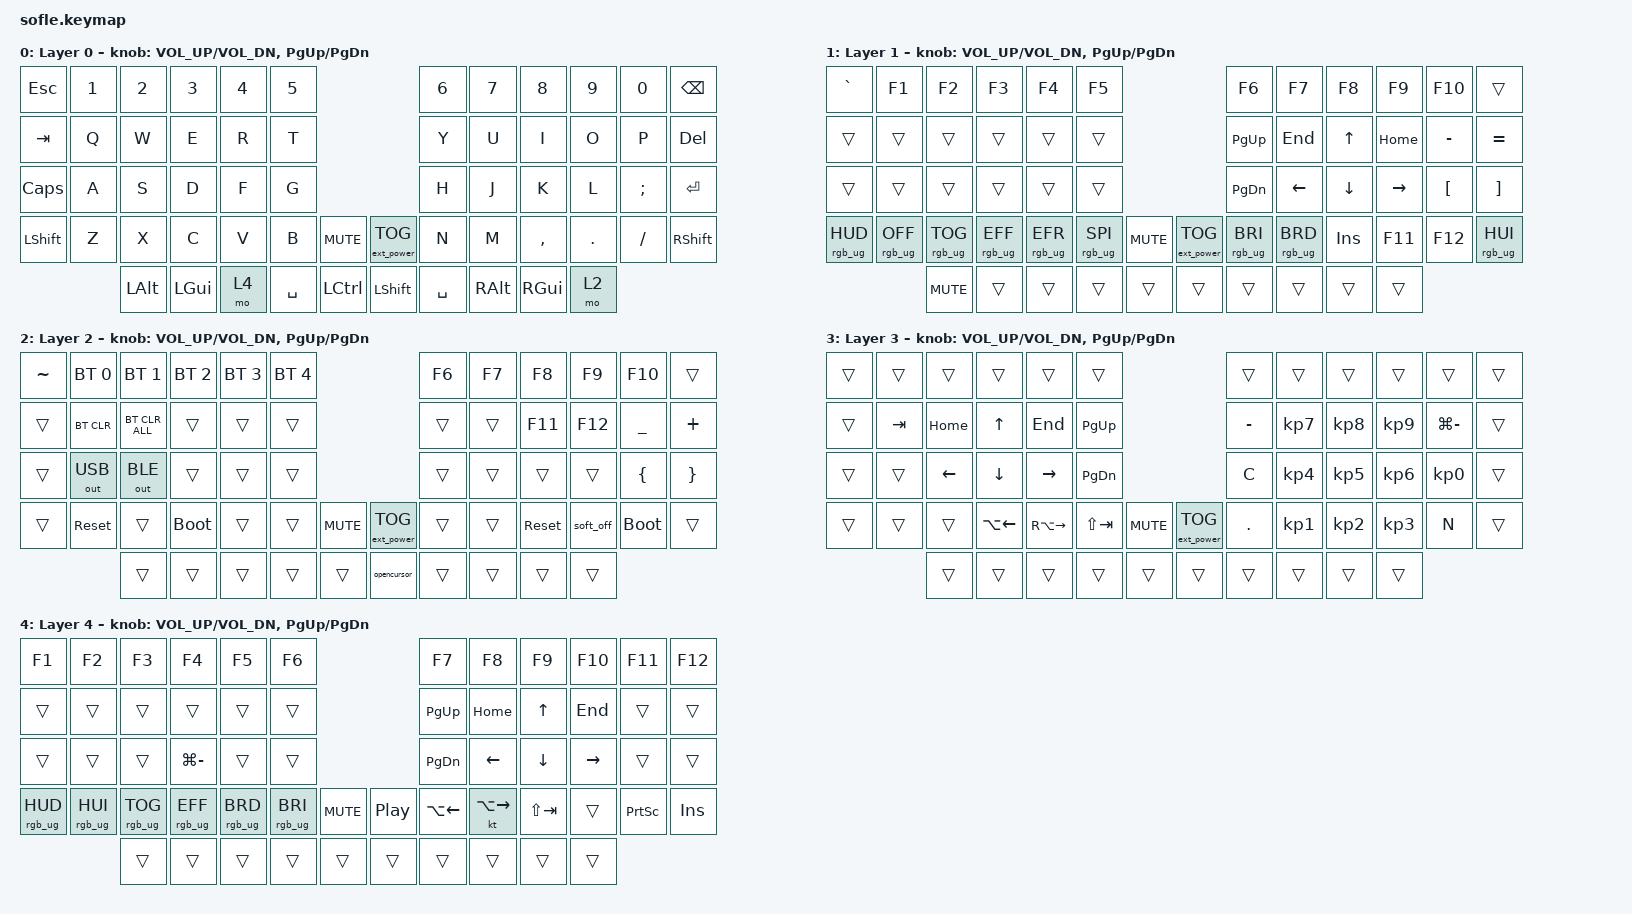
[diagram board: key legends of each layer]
/*
 * Copyright (c) 2020 The ZMK Contributors
 *
 * SPDX-License-Identifier: MIT
 */
/*
 * Temporarily here because nice nano v2 spi is not defined on ZMK Yet
 * Source: https://github.com/zmkfirmware/zmk/blob/main/app/boards/shields/reviung41/boards/nice_nano.overlay
 * GitHub Issue: https://github.com/zmkfirmware/zmk/issues/885
 */

#include <dt-bindings/led/led.h>
#include <behaviors.dtsi>
#include <dt-bindings/zmk/bt.h>
#include <dt-bindings/zmk/ext_power.h>
#include <dt-bindings/zmk/keys.h>
#include <dt-bindings/zmk/outputs.h>
#include <dt-bindings/zmk/rgb.h>

&pinctrl {
    spi3_default: spi3_default {
        group1 { psels = <NRF_PSEL(SPIM_MOSI, 0, 8)>; };
    };

    spi3_sleep: spi3_sleep {
        group1 {
            psels = <NRF_PSEL(SPIM_MOSI, 0, 8)>;
            low-power-enable;
        };
    };
};

&spi3 {
    compatible = "nordic,nrf-spim";
    status = "okay";
    pinctrl-0 = <&spi3_default>;
    pinctrl-1 = <&spi3_sleep>;
    pinctrl-names = "default", "sleep";

    led_strip: ws2812@0 {
        compatible = "worldsemi,ws2812-spi";
        label = "WS2812";

        /* SPI */

        reg = <0>; /* ignored, but necessary for SPI bindings */
        spi-max-frequency = <4000000>;

        /* WS2812 */

        chain-length = <30>;
        spi-one-frame = <0x70>;
        spi-zero-frame = <0x40>;
        color-mapping = <LED_COLOR_ID_GREEN LED_COLOR_ID_RED LED_COLOR_ID_BLUE>;
    };
};

/ {
    chosen { zmk,underglow = &led_strip; };
};

/* END temporary RGB support section */
/* Macros and combos imported from eyelash keymap (no pointing behaviors) */

/ {
    macros {
        L3_CYAN: L1_CYAN {
            compatible = "zmk,behavior-macro";
            #binding-cells = <0>;
            wait-ms = <0>;
            tap-ms = <0>;
            bindings =
                <&macro_press>,
                <&mo 3>,
                <&macro_tap>,
                <&rgb_ug RGB_COLOR_HSB(180,100,100)>,
                <&macro_pause_for_release>,
                <&macro_release>,
                <&mo 3>,
                <&macro_tap>,
                <&rgb_ug RGB_COLOR_HSB(0,0,0)>;
        };

        L2_RED: L2_RED {
            compatible = "zmk,behavior-macro";
            #binding-cells = <0>;
            wait-ms = <0>;
            tap-ms = <0>;
            bindings =
                <&macro_press>,
                <&mo 2>,
                <&macro_tap>,
                <&rgb_ug RGB_COLOR_HSB(0,100,100)>,
                <&macro_pause_for_release>,
                <&macro_release>,
                <&mo 2>,
                <&macro_tap>,
                <&rgb_ug RGB_COLOR_HSB(0,0,0)>;
        };

        opencursor: openapp {
            compatible = "zmk,behavior-macro";
            #binding-cells = <0>;
            bindings =
                <&macro_press>,
                <&kp LEFT_GUI &kp SPACE>,
                <&macro_wait_time 50>,
                <&macro_release>,
                <&kp LEFT_GUI &kp SPACE>,
                <&macro_wait_time 150>,
                <&macro_tap>,
                <&kp W &kp SEMICOLON &kp J &kp S &kp E &kp J>,
                <&macro_wait_time 100>,
                <&macro_tap>,
                <&kp ENTER>;

            label = "OPENAPP";
            tap-ms = <10>;
        };

        ALT_BLUE: ALT_BLUE {
            compatible = "zmk,behavior-macro";
            #binding-cells = <0>;
            wait-ms = <0>;
            tap-ms = <0>;
            bindings =
                <&macro_press>,
                <&kp RIGHT_ALT>,
                <&macro_tap>,
                <&rgb_ug RGB_COLOR_HSB(217,79,49)>,
                <&macro_pause_for_release>,
                <&macro_release>,
                <&kp RIGHT_ALT>,
                <&macro_tap>,
                <&rgb_ug RGB_COLOR_HSB(0,0,0)>;

            label = "ALT_BLUE";
        };
    };

    combos {
        compatible = "zmk,combos";

        layer_1 {
            bindings = <&mo 1>;
            key-positions = <52 57>;
        };
    };
};

/ {
    keymap {
        compatible = "zmk,keymap";

        layer_0 {
            bindings = <
&kp ESC    &kp N1  &kp N2    &kp N3    &kp N4  &kp N5                                            &kp N6     &kp N7         &kp N8         &kp N9   &kp N0    &kp BACKSPACE
&kp TAB    &kp Q   &kp W     &kp E     &kp R   &kp T                                             &kp Y      &kp U          &kp I          &kp O    &kp P     &kp DEL
&kp CAPS   &kp A   &kp S     &kp D     &kp F   &kp G                                             &kp H      &kp J          &kp K          &kp L    &kp SEMI  &kp RET
&kp LSHFT  &kp Z   &kp X     &kp C     &kp V   &kp B      &kp C_MUTE          &ext_power EP_TOG  &kp N      &kp M          &kp COMMA      &kp DOT  &kp FSLH  &kp RSHFT
                   &kp LALT  &kp LGUI  &mo 4   &kp SPACE  &kp LEFT_CONTROL    &kp LEFT_SHIFT     &kp SPACE  &kp RIGHT_ALT  &kp RIGHT_GUI  &mo 2
            >;

            sensor-bindings = <&inc_dec_kp C_VOL_UP C_VOL_DN &inc_dec_kp PG_UP PG_DN>;
            label = "Layer 0";
        };

        layer_1 {
            bindings = <
&kp GRAVE        &kp F1           &kp F2           &kp F3           &kp F4           &kp F5                                            &kp F6           &kp F7           &kp F8      &kp F9     &kp F10           &trans
&trans           &trans           &trans           &trans           &trans           &trans                                            &kp PG_UP        &kp END          &kp UP      &kp HOME   &kp MINUS         &kp EQUAL
&trans           &trans           &trans           &trans           &trans           &trans                                            &kp PG_DN        &kp LEFT         &kp DOWN    &kp RIGHT  &kp LEFT_BRACKET  &kp RIGHT_BRACKET
&rgb_ug RGB_HUD  &rgb_ug RGB_OFF  &rgb_ug RGB_TOG  &rgb_ug RGB_EFF  &rgb_ug RGB_EFR  &rgb_ug RGB_SPI  &kp C_MUTE    &ext_power EP_TOG  &rgb_ug RGB_BRI  &rgb_ug RGB_BRD  &kp INSERT  &kp F11    &kp F12           &rgb_ug RGB_HUI
                                  &kp C_MUTE       &trans           &trans           &trans           &trans        &trans             &trans           &trans           &trans      &trans
            >;

            sensor-bindings = <&inc_dec_kp C_VOL_UP C_VOL_DN &inc_dec_kp PG_UP PG_DN>;
            label = "Layer 1";
        };

        layer_2 {
            bindings = <
&kp TILDE  &bt BT_SEL 0  &bt BT_SEL 1    &bt BT_SEL 2  &bt BT_SEL 3  &bt BT_SEL 4                                   &kp F6  &kp F7  &kp F8      &kp F9     &kp F10      &trans
&trans     &bt BT_CLR    &bt BT_CLR_ALL  &trans        &trans        &trans                                         &trans  &trans  &kp F11     &kp F12    &kp UNDER    &kp PLUS
&trans     &out OUT_USB  &out OUT_BLE    &trans        &trans        &trans                                         &trans  &trans  &trans      &trans     &kp LBRC     &kp RBRC
&trans     &sys_reset    &trans          &bootloader   &trans        &trans        &kp C_MUTE    &ext_power EP_TOG  &trans  &trans  &sys_reset  &soft_off  &bootloader  &trans
                         &trans          &trans        &trans        &trans        &trans        &opencursor        &trans  &trans  &trans      &trans
            >;

            sensor-bindings = <&inc_dec_kp C_VOL_UP C_VOL_DN &inc_dec_kp PG_UP PG_DN>;
            label = "Layer 2";
        };

        layer_3 {
            bindings = <
&trans  &trans   &trans    &trans        &trans         &trans                                          &trans     &trans           &trans           &trans           &trans           &trans
&trans  &kp TAB  &kp HOME  &kp UP        &kp END        &kp PAGE_UP                                     &kp MINUS  &kp KP_NUMBER_7  &kp KP_NUMBER_8  &kp KP_NUMBER_9  &kp LG(MINUS)    &trans
&trans  &trans   &kp LEFT  &kp DOWN      &kp RIGHT      &kp PAGE_DOWN                                   &kp C      &kp KP_NUMBER_4  &kp KP_NUMBER_5  &kp KP_NUMBER_6  &kp KP_NUMBER_0  &trans
&trans  &trans   &trans    &kp LA(LEFT)  &kp RA(RIGHT)  &kp LS(TAB)    &kp C_MUTE    &ext_power EP_TOG  &kp DOT    &kp KP_NUMBER_1  &kp KP_NUMBER_2  &kp KP_NUMBER_3  &kp N            &trans
                 &trans    &trans        &trans         &trans         &trans        &trans             &trans     &trans           &trans           &trans
            >;

            sensor-bindings = <&inc_dec_kp C_VOL_UP C_VOL_DN &inc_dec_kp PG_UP PG_DN>;
            label = "Layer 3";
        };

        layer_4 {
            label = "Layer 4";
            bindings = <
&kp F1           &kp F2           &kp F3           &kp F4           &kp F5           &kp F6                                           &kp F7        &kp F8         &kp F9       &kp F10    &kp F11          &kp F12
&trans           &trans           &trans           &trans           &trans           &trans                                           &kp PG_UP     &kp HOME       &kp UP       &kp END    &trans           &trans
&trans           &trans           &trans           &kp LG(MINUS)    &trans           &trans                                           &kp PG_DN     &kp LEFT       &kp DOWN     &kp RIGHT  &trans           &trans
&rgb_ug RGB_HUD  &rgb_ug RGB_HUI  &rgb_ug RGB_TOG  &rgb_ug RGB_EFF  &rgb_ug RGB_BRD  &rgb_ug RGB_BRI  &kp C_MUTE    &kp C_PLAY_PAUSE  &kp LA(LEFT)  &kt LA(RIGHT)  &kp LS(TAB)  &trans     &kp PRINTSCREEN  &kp INSERT
                                  &trans           &trans           &trans           &trans           &trans        &trans            &trans        &trans         &trans       &trans
            >;

            sensor-bindings =
                <&inc_dec_kp C_VOL_UP C_VOL_DN>,
                <&inc_dec_kp PG_UP PG_DN>;
        };
    };
};
